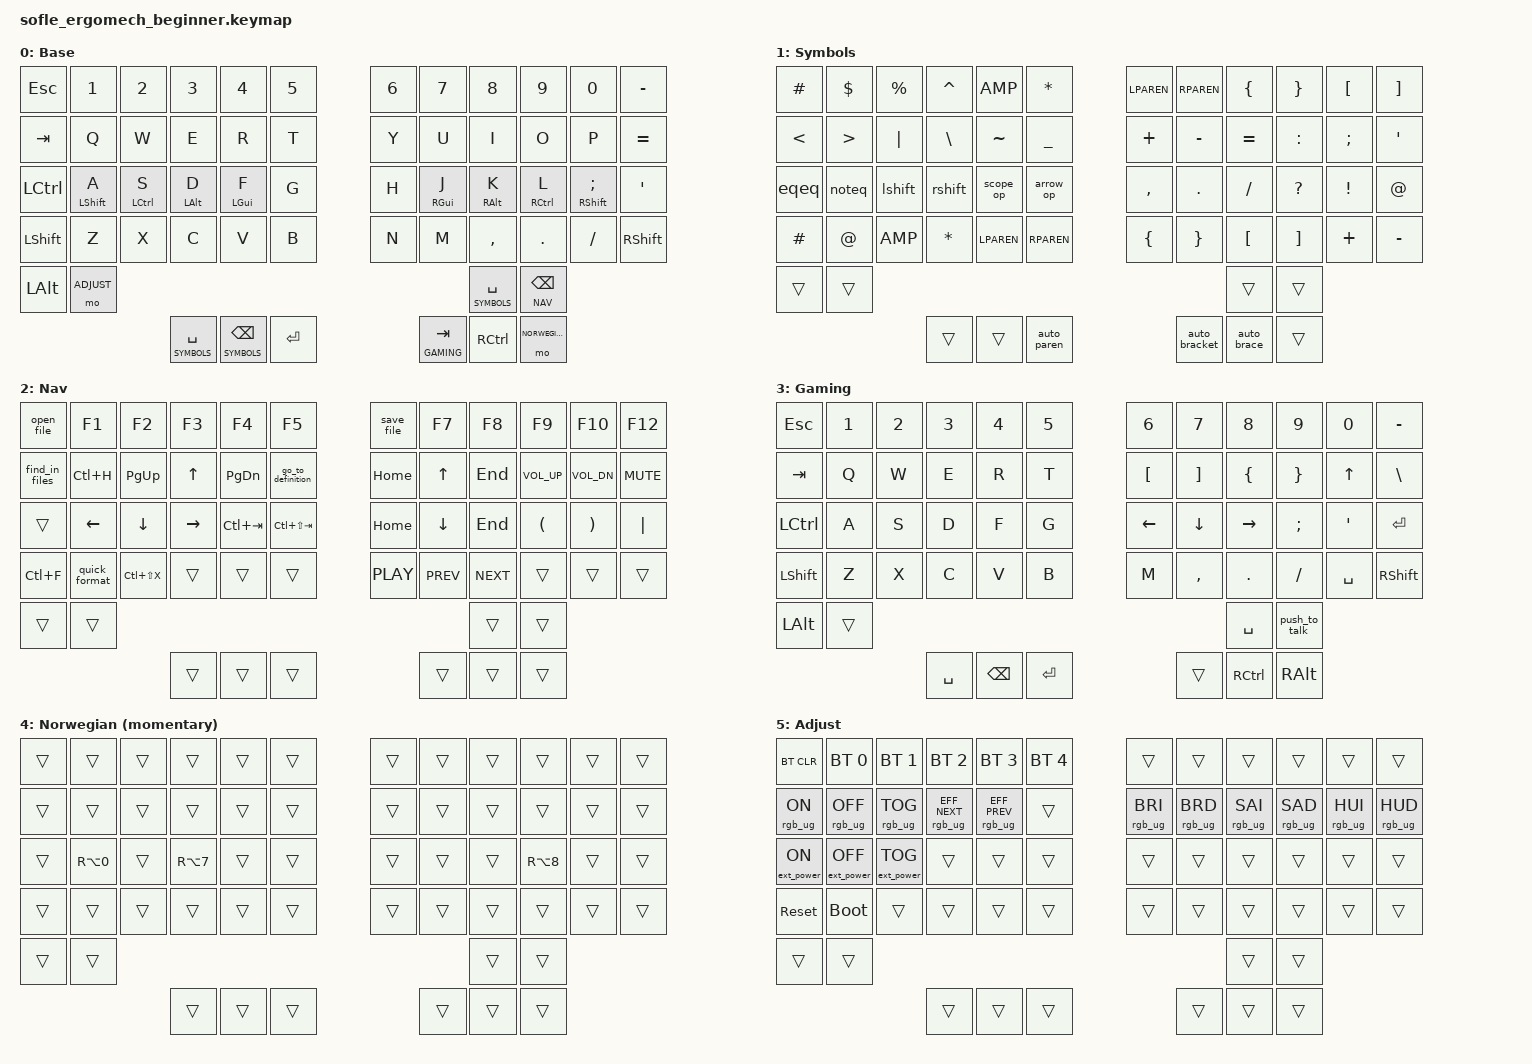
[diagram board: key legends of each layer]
// Sofle Ergomech - Beginner-Friendly & Programmer-Optimized Keymap
// Layers: Base QWERTY + Home-row Mods | Symbols/Numbers | Navigation/IDE | Gaming | Norwegian (momentary) | Adjust
// Target: Coding (C/C++, Python, Rust) + Gaming (GuildWars2) + English/Norwegian typing

// ==================== QUICK REFERENCE FROM BASE LAYER ====================
// Norwegian (momentary): Hold Right-Alt key on base layer
//   While held: A→Å, E→Æ, O→Ø, all other keys pass through
//
// Bluetooth Selection (from base layer):
//   Right-Ctrl + Right-Alt + 1 = BT Profile 1
//   Right-Ctrl + Right-Alt + 2 = BT Profile 2
//   Right-Ctrl + Right-Alt + 0 = Clear all BT profiles
//
// Bootloader (from base layer):
//   Right-Ctrl + Right-Alt + B = Enter bootloader (for flashing)
//
// System Reset (from base layer):
//   Right-Ctrl + Right-Alt + R = System reset
// ==================== END QUICK REFERENCE ====================

#include <behaviors.dtsi>
#include <dt-bindings/zmk/keys.h>
#include <dt-bindings/zmk/bt.h>
#include <dt-bindings/zmk/ext_power.h>
#include <dt-bindings/zmk/rgb.h>

// ==================== LAYER DEFINITIONS ====================
#define BASE 0
#define SYMBOLS 1
#define NAV 2
#define GAMING 3
#define NORWEGIAN 4
#define ADJUST 5

// ==================== BEHAVIOR DEFINITIONS ====================
/ {
    behaviors {
        // Home-row mods with quick-tap-ms for reliability
        hm_l: homerow_mods_left {
            compatible = "zmk,behavior-hold-tap";
            #binding-cells = <2>;
            tapping-term-ms = <200>;
            quick-tap-ms = <135>;
            flavor = "balanced";
            bindings = <&kp>, <&kp>;
            hold-trigger-key-positions = <6 7 8 9 10 11 18 19 20 21 22 23 30 31 32 33 34 35 42 43 44 45 46 47>;
        };

        hm_r: homerow_mods_right {
            compatible = "zmk,behavior-hold-tap";
            #binding-cells = <2>;
            tapping-term-ms = <200>;
            quick-tap-ms = <135>;
            flavor = "balanced";
            bindings = <&kp>, <&kp>;
            hold-trigger-key-positions = <0 1 2 3 4 5 12 13 14 15 16 17 24 25 26 27 28 29 36 37 38 39 40 41>;
        };

        // Tap-hold for Norwegian characters on Layer 1
        // Tap = normal char, Hold = Norwegian char
        th_nordic: tap_hold_nordic {
            compatible = "zmk,behavior-hold-tap";
            #binding-cells = <2>;
            tapping-term-ms = <150>;
            quick-tap-ms = <100>;
            flavor = "tap-preferred";
            bindings = <&kp>, <&kp>;
        };

        // Mod-tap for common programming patterns
        mt_prog: mod_tap_programming {
            compatible = "zmk,behavior-hold-tap";
            #binding-cells = <2>;
            tapping-term-ms = <220>;
            quick-tap-ms = <100>;
            flavor = "balanced";
            bindings = <&kp>, <&kp>;
        };

        // Layer-tap for better thumb access
        lt_layer: layer_tap {
            compatible = "zmk,behavior-hold-tap";
            #binding-cells = <2>;
            tapping-term-ms = <200>;
            quick-tap-ms = <125>;
            flavor = "balanced";
            bindings = <&mo>, <&kp>;
        };
    };

    // ==================== MACROS ====================
    macros {
        // IDE/Editor shortcuts
        save_file: save_file {
            compatible = "zmk,behavior-macro";
            #binding-cells = <0>;
            bindings = <&kp LC(S)>;
            label = "SAVE_FILE";
        };

        open_file: open_file {
            compatible = "zmk,behavior-macro";
            #binding-cells = <0>;
            bindings = <&kp LC(K) &kp LC(O)>;
            label = "OPEN_FILE";
        };

        find_in_files: find_in_files {
            compatible = "zmk,behavior-macro";
            #binding-cells = <0>;
            bindings = <&kp LC(LS(F))>;
            label = "FIND_IN_FILES";
        };

        go_to_definition: go_to_definition {
            compatible = "zmk,behavior-macro";
            #binding-cells = <0>;
            bindings = <&kp LC(LS(I))>;
            label = "GOTO_DEFINITION";
        };

        quick_format: quick_format {
            compatible = "zmk,behavior-macro";
            #binding-cells = <0>;
            bindings = <&kp LC(LA(F))>;
            label = "FORMAT_DOC";
        };

        // Programming helpers
        include_guard: include_guard {
            compatible = "zmk,behavior-macro";
            #binding-cells = <0>;
            bindings = <&kp HASH &kp I &kp F &kp D &kp E &kp F &kp SPACE>;
            label = "IFNDEF";
        };

        lambda_cpp: lambda_cpp {
            compatible = "zmk,behavior-macro";
            #binding-cells = <0>;
            bindings = <&kp LS(LBKT) &kp RBKT &kp SPACE &kp LPAR &kp RPAR &kp LEFT &kp LEFT>;
            label = "LAMBDA_CPP";
        };

        // Brackets with auto-close
        auto_paren: auto_paren {
            compatible = "zmk,behavior-macro";
            #binding-cells = <0>;
            bindings = <&kp LPAR &kp RPAR &kp LEFT>;
            label = "AUTO_PAREN";
        };

        auto_bracket: auto_bracket {
            compatible = "zmk,behavior-macro";
            #binding-cells = <0>;
            bindings = <&kp LBKT &kp RBKT &kp LEFT>;
            label = "AUTO_BRACKET";
        };

        auto_brace: auto_brace {
            compatible = "zmk,behavior-macro";
            #binding-cells = <0>;
            bindings = <&kp LBRC &kp RBRC &kp LEFT>;
            label = "AUTO_BRACE";
        };

        eqeq: eqeq {
            compatible = "zmk,behavior-macro";
            #binding-cells = <0>;
            bindings = <&kp EQUAL &kp EQUAL>;
            label = "EQEQ";
        };

        noteq: noteq {
            compatible = "zmk,behavior-macro";
            #binding-cells = <0>;
            bindings = <&kp EXCL &kp EQUAL>;
            label = "NOTEQ";
        };

        lshift: lshift {
            compatible = "zmk,behavior-macro";
            #binding-cells = <0>;
            bindings = <&kp LT &kp LT>;
            label = "LSHIFT";
        };

        rshift: rshift {
            compatible = "zmk,behavior-macro";
            #binding-cells = <0>;
            bindings = <&kp GT &kp GT>;
            label = "RSHIFT";
        };

        scope_op: scope_op {
            compatible = "zmk,behavior-macro";
            #binding-cells = <0>;
            bindings = <&kp COLON &kp COLON>;
            label = "SCOPE";
        };

        arrow_op: arrow_op {
            compatible = "zmk,behavior-macro";
            #binding-cells = <0>;
            bindings = <&kp MINUS &kp GT>;
            label = "ARROW";
        };

        // Gaming macros
        toggle_weapon: toggle_weapon {
            compatible = "zmk,behavior-macro";
            #binding-cells = <0>;
            bindings = <&kp TAB>;
            label = "TOGGLE_WEAPON";
        };

        push_to_talk: push_to_talk {
            compatible = "zmk,behavior-macro";
            #binding-cells = <0>;
            bindings = <&kp V>;
            label = "PUSH_TO_TALK";
        };
    };

    // ==================== COMBOS ====================
    combos {
        compatible = "zmk,combos";

        // Quick access to common symbols
        combo_tilde {
            timeout-ms = <50>;
            key-positions = <1 2>;
            bindings = <&kp TILDE>;
        };

        combo_at {
            timeout-ms = <50>;
            key-positions = <2 3>;
            bindings = <&kp AT>;
        };

        combo_hash {
            timeout-ms = <50>;
            key-positions = <3 4>;
            bindings = <&kp HASH>;
        };

        combo_dollar {
            timeout-ms = <50>;
            key-positions = <4 5>;
            bindings = <&kp DOLLAR>;
        };

        combo_caps {
            timeout-ms = <50>;
            key-positions = <20 21>;
            bindings = <&kp CAPS>;
        };

        // Bluetooth & System Control Combos (Right-Ctrl + Right-Alt + key)
        // These allow direct access from base layer without navigating through layers
        
        combo_bt_profile_1 {
            timeout-ms = <100>;
            key-positions = <45 47 1>;  // Right-Ctrl + Right-Alt + 1
            bindings = <&bt BT_SEL 0>;
            require-prior-idle-ms = <150>;
        };

        combo_bt_profile_2 {
            timeout-ms = <100>;
            key-positions = <45 47 2>;  // Right-Ctrl + Right-Alt + 2
            bindings = <&bt BT_SEL 1>;
            require-prior-idle-ms = <150>;
        };

        combo_bt_clear {
            timeout-ms = <100>;
            key-positions = <45 47 10>;  // Right-Ctrl + Right-Alt + 0
            bindings = <&bt BT_CLR>;
            require-prior-idle-ms = <150>;
        };

        combo_bootloader {
            timeout-ms = <100>;
            key-positions = <45 47 5>;  // Right-Ctrl + Right-Alt + B
            bindings = <&bootloader>;
            require-prior-idle-ms = <150>;
        };

        combo_sys_reset {
            timeout-ms = <100>;
            key-positions = <45 47 4>;  // Right-Ctrl + Right-Alt + R
            bindings = <&sys_reset>;
            require-prior-idle-ms = <150>;
        };
    };

    // ==================== KEYMAP ====================
    keymap {
        compatible = "zmk,keymap";

        // ========== LAYER 0: BASE QWERTY WITH HOME-ROW MODS ==========
        layer_0 {
            label = "Base";
            bindings = <
            // Row 1: Numbers + Function Row
            &kp ESC      &kp N1       &kp N2       &kp N3       &kp N4       &kp N5                          &kp N6       &kp N7       &kp N8       &kp N9       &kp N0       &kp MINUS
            // Row 2: QWERTY Top
            &kp TAB      &kp Q        &kp W        &kp E        &kp R        &kp T                           &kp Y        &kp U        &kp I        &kp O        &kp P        &kp EQUAL
            // Row 3: QWERTY Home Row + Home-Row Mods (A=Shift, S=Ctrl, D=Alt, F=GUI)
            &kp LCTRL    &hm_l LSHFT A &hm_l LCTRL S &hm_l LALT D &hm_l LGUI F &kp G                           &kp H        &hm_r RGUI J &hm_r RALT K &hm_r RCTRL L &hm_r RSHFT SEMI &kp APOS
            // Row 4: QWERTY Bottom
            &kp LSHFT    &kp Z        &kp X        &kp C        &kp V        &kp B                           &kp N        &kp M        &kp COMMA    &kp PERIOD   &kp SLASH    &kp RSHFT
            // Row 5: Thumb Cluster (left side)
            &kp LALT     &mo ADJUST                                                                                       &lt_layer SYMBOLS SPACE  &lt_layer NAV BSPC
            // Row 6: Thumb Cluster (right side) - Right position is Norwegian momentary layer
                                                &lt_layer SYMBOLS SPACE  &lt_layer SYMBOLS BSPC          &kp ENTER    &lt_layer GAMING TAB   &kp RCTRL    &mo NORWEGIAN
            >;
        };

        // ========== LAYER 1: SYMBOLS FOR C++ ==========
        layer_1 {
            label = "Symbols";
            bindings = <
            // Row 1: Brackets and grouping symbols
            &kp HASH     &kp DOLLAR   &kp PERCENT  &kp CARET    &kp AMP      &kp ASTRK                         &kp LPAREN   &kp RPAREN   &kp LBRC     &kp RBRC     &kp LBKT     &kp RBKT
            // Row 2: Delimiters, pipes, and assignment operators
            &kp LT       &kp GT       &kp PIPE     &kp BSLH     &kp TILDE    &kp UNDERSCORE                    &kp PLUS     &kp MINUS    &kp EQUAL    &kp COLON    &kp SCLN     &kp QUOT
            // Row 3: C++ operator macros and common separators
            &eqeq       &noteq      &lshift     &rshift     &scope_op   &arrow_op                        &kp COMMA    &kp PERIOD   &kp SLASH    &kp QUESTION &kp EXCL     &kp AT
            // Row 4: Alternate home-row symbol access
            &kp HASH     &kp AT       &kp AMP      &kp ASTRK    &kp LPAREN   &kp RPAREN                        &kp LBRC     &kp RBRC     &kp LBKT     &kp RBKT     &kp PLUS     &kp MINUS
            // Row 5: Thumb cluster
            &trans       &trans                                                                                          &trans       &trans
            // Row 6: Thumb cluster  
                                                &trans       &trans                        &auto_paren  &auto_bracket  &auto_brace  &trans
            >;
        };

        // ========== LAYER 2: NAVIGATION & IDE SHORTCUTS ==========
        layer_2 {
            label = "Nav";
            bindings = <
            // Row 1: IDE shortcuts
            &open_file   &kp F1       &kp F2       &kp F3       &kp F4       &kp F5                          &save_file   &kp F7       &kp F8       &kp F9       &kp F10      &kp F12
            // Row 2: Quick navigation
            &find_in_files &kp LC(H)  &kp PAGE_UP  &kp UP       &kp PAGE_DOWN &go_to_definition              &kp HOME     &kp UP       &kp END      &kp C_VOL_UP &kp C_VOL_DN &kp C_MUTE
            // Row 3: Vim-inspired + Tab navigation  
            &trans       &kp LEFT     &kp DOWN     &kp RIGHT    &kp LC(TAB)  &kp LC(LS(TAB))                &kp HOME     &kp DOWN     &kp END      &kp LPAR     &kp RPAR     &kp PIPE
            // Row 4: Search + Replace + Formatting
            &kp LC(F)    &quick_format &kp LC(LS(X)) &trans      &trans       &trans                          &kp C_PLAY   &kp C_PREV   &kp C_NEXT   &trans       &trans       &trans
            // Row 5: Thumb cluster
            &trans       &trans                                                                                          &trans       &trans
            // Row 6: Thumb cluster
                                                &trans       &trans                        &trans       &trans         &trans       &trans
            >;
        };

        // ========== LAYER 3: GAMING ==========
        layer_3 {
            label = "Gaming";
            bindings = <
            // Row 1: Ability hotbar (1-6)
            &kp ESC      &kp N1       &kp N2       &kp N3       &kp N4       &kp N5                          &kp N6       &kp N7       &kp N8       &kp N9       &kp N0       &kp MINUS
            // Row 2: WASD movement
            &kp TAB      &kp Q        &kp W        &kp E        &kp R        &kp T                           &kp LBKT     &kp RBKT     &kp LBRC     &kp RBRC     &kp UP       &kp BSLH
            // Row 3: Quick access combat keys
            &kp LCTRL    &kp A        &kp S        &kp D        &kp F        &kp G                           &kp LEFT     &kp DOWN     &kp RIGHT    &kp SEMI     &kp APOS     &kp ENTER
            // Row 4: Extra hotbar + modifier keys
            &kp LSHFT    &kp Z        &kp X        &kp C        &kp V        &kp B                           &kp M        &kp COMMA    &kp PERIOD   &kp SLASH    &kp SPACE    &kp RSHFT
            // Row 5: Thumb cluster - push to talk
            &kp LALT     &trans                                                                                          &kp SPACE    &push_to_talk
            // Row 6: Thumb cluster
                                                &kp SPACE    &kp BSPC                      &kp ENTER    &trans         &kp RCTRL    &kp RALT
            >;
        };

        // ========== LAYER 4: NORWEGIAN MOMENTARY LAYER ==========
        // This layer is momentarily activated by holding Right-Alt key on base layer
        // Maps: A→Å, E→Æ, O→Ø
        layer_4 {
            label = "Norwegian (momentary)";
            bindings = <
            // Row 1: All transparent
            &trans       &trans       &trans       &trans       &trans       &trans                          &trans       &trans       &trans       &trans       &trans       &trans
            // Row 2: All transparent
            &trans       &trans       &trans       &trans       &trans       &trans                          &trans       &trans       &trans       &trans       &trans       &trans
            // Row 3: A→Å, E→Æ, O→Ø (on the home row)
            &trans       &kp RA(N0)   &trans       &kp RA(N7)   &trans       &trans                          &trans       &trans       &trans       &kp RA(N8)   &trans       &trans
            // Row 4: All transparent
            &trans       &trans       &trans       &trans       &trans       &trans                          &trans       &trans       &trans       &trans       &trans       &trans
            // Row 5: All transparent
            &trans       &trans                                                                                          &trans       &trans
            // Row 6: All transparent
                                                &trans       &trans                        &trans       &trans         &trans       &trans
            >;
            // NOTE: Uses Alt+numeric codes for Norwegian characters:
            // Å/å: Alt+0197 (Å) / Alt+0229 (å) - mapped to position of A
            // Ø/ø: Alt+0216 (Ø) / Alt+0248 (ø) - mapped to position of O
            // Æ/æ: Alt+0198 (Æ) / Alt+0230 (æ) - mapped to position of E
            // Mac/Linux users: Configure at OS level or use native compose keys
        };

        // ========== LAYER 5: ADJUST/RGB/BT ==========
        layer_5 {
            label = "Adjust";
            bindings = <
            // Row 1: Bluetooth profiles
            &bt BT_CLR   &bt BT_SEL 0  &bt BT_SEL 1 &bt BT_SEL 2 &bt BT_SEL 3 &bt BT_SEL 4                  &trans       &trans       &trans       &trans       &trans       &trans
            // Row 2: RGB underglow
            &rgb_ug RGB_ON &rgb_ug RGB_OFF &rgb_ug RGB_TOG &rgb_ug RGB_EFF_NEXT &rgb_ug RGB_EFF_PREV &trans                  &rgb_ug RGB_BRI &rgb_ug RGB_BRD &rgb_ug RGB_SAI &rgb_ug RGB_SAD &rgb_ug RGB_HUI &rgb_ug RGB_HUD
            // Row 3: Power settings
            &ext_power EXT_POWER_ON &ext_power EXT_POWER_OFF &ext_power EXT_POWER_TOG &trans &trans &trans  &trans       &trans       &trans       &trans       &trans       &trans
            // Row 4: Reset/Bootloader
            &sys_reset   &bootloader  &trans       &trans       &trans       &trans                          &trans       &trans       &trans       &trans       &trans       &trans
            // Row 5: Thumb cluster
            &trans       &trans                                                                                          &trans       &trans
            // Row 6: Thumb cluster
                                                &trans       &trans                        &trans       &trans         &trans       &trans
            >;
        };
    };
};
